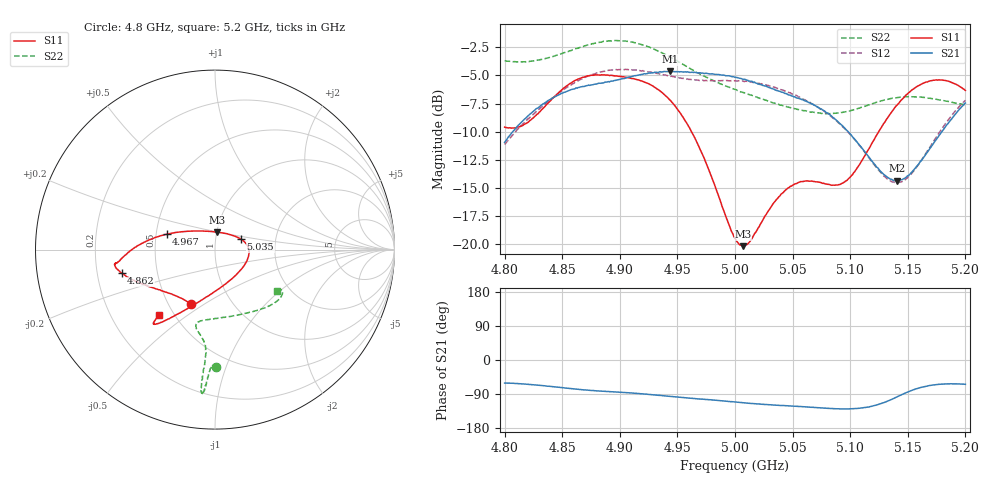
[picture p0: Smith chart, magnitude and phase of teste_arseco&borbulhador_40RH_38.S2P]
! Network Analyzer HP8722D
! Hewlett-Packard
! Data name: Linha & Wilkinson
! Saver's name: Rodrigo Anjos
! Comments: Teste da utilização de aquisição
! continua pelo VNA HP8722D
! Time and date: 15/4/2025 16:40
!  Frequency  S11  S21  S12  S22
# HZ  S  MA R 50
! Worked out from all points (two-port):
!   401 points, 4.8 GHz to 5.2 GHz, reference 50 ohm
!   highest |S21| = -4.63 dB at 4.944 GHz (marker M1); lowest = -14.4 dB at 5.141 GHz (marker M2)
!   |S21| within 3 dB of the highest: 4.832 GHz to 5.068 GHz (236.2 MHz wide, 4.77 % of centre); 5.198337 GHz to end of sweep
!   lowest |S11| = -20.2 dB at 5.007 GHz (marker M3), VSWR 1.22, Z = 50.3 + j9.84 ohm
!   |S11| at or under -10 dB: 4.962 GHz to 5.125 GHz (162.7 MHz wide, 3.23 % of centre)
!   |S22| runs from -8.4 to -1.9 dB; largest |S21 - S12| = 0.88
!   S11 on the Smith chart (normalised r, x): 4.8 GHz: 0.65, -0.44; 4.862 GHz: 0.31, -0.11; 4.967 GHz: 0.57, +0.11; 5.035 GHz: 1.32, +0.16; 5.2 GHz: 0.41, -0.39
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4.8e9  0.3309 -113.8  0.2834 -60.8  0.2773 -175.0  0.654 -89.6
4.819e9  0.3448 -133.6  0.3662 -63.8  0.3543 -173.4  0.6492 -91.3
4.862e9  0.5366 -165.9  0.4954 -76.7  0.5256 -176.5  0.7407 -93.7
4.867e9  0.5494 -167.7  0.5009 -78.2  0.5417 -177.6  0.7545 -93.8
4.903e9  0.5551 -172.2  0.5441 -85.6  0.5987 175.2  0.8008 -95.3
4.934e9  0.4838 -178.2  0.5819 -93.4  0.5732 171.9  0.7171 -95.7
4.944e9  0.4348 177.4  0.5871 -96.2  0.5572 171.9  0.6773 -95.5
4.967e9  0.2829 162.5  0.578 -102.1  0.5356 173.9  0.5785 -95.0
5e9  0.1059 106.4  0.5517 -110.9  0.5329 176.3  0.4876 -99.3
5.007e9  0.09771 82.7  0.5403 -112.8  0.5307 176.4  0.4721 -101.0
5.013e9  0.1026 63.4  0.5303 -114.5  0.5255 176.1  0.4608 -102.2
5.035e9  0.1551 22.4  0.4841 -119.0  0.497 175.0  0.4223 -103.9
5.05e9  0.1824 6.7  0.4547 -121.7  0.4633 174.4  0.4024 -100.3
5.067e9  0.1904 -11.8  0.4198 -124.8  0.4204 174.0  0.3868 -91.9
5.086e9  0.1826 -42.2  0.3629 -128.3  0.3601 173.6  0.3814 -77.6
5.097e9  0.1914 -65.4  0.3204 -129.1  0.3196 174.4  0.3887 -68.4
5.134e9  0.3741 -116.2  0.1955 -106.6  0.1916 -159.3  0.4422 -43.3
5.141e9  0.4167 -120.2  0.191 -96.7  0.1872 -148.4  0.4483 -40.2
5.153e9  0.4819 -125.1  0.2075 -80.8  0.2048 -129.9  0.4519 -36.0
5.17e9  0.5328 -128.7  0.2692 -67.0  0.2736 -113.0  0.4444 -32.1
5.184e9  0.5315 -130.0  0.3396 -63.1  0.3505 -107.3  0.4316 -31.2
5.2e9  0.4823 -130.5  0.4238 -64.1  0.4356 -106.1  0.4155 -33.5
